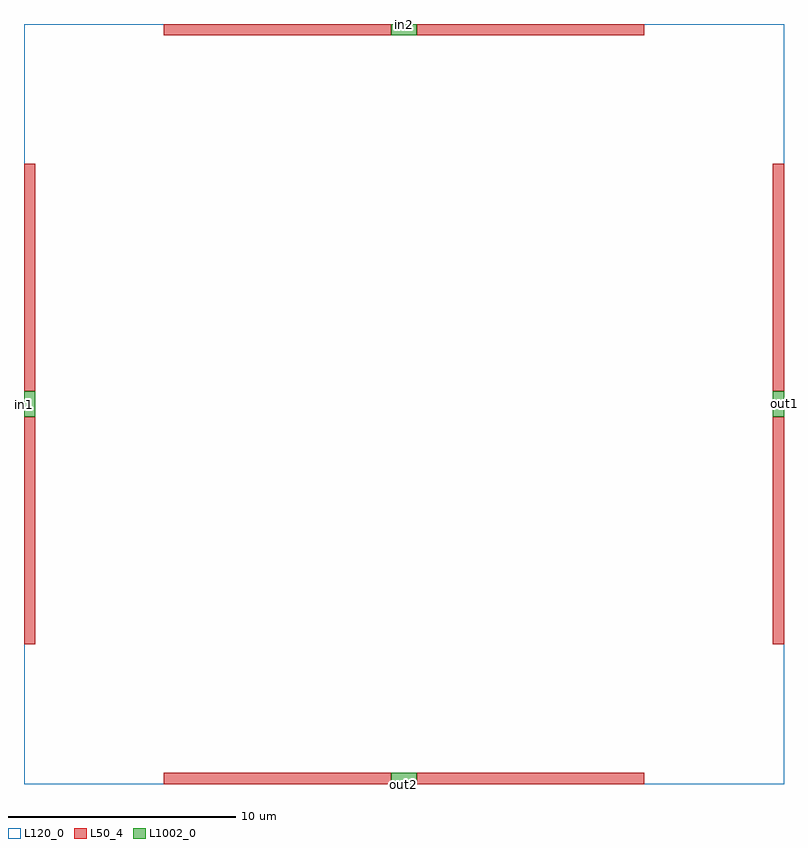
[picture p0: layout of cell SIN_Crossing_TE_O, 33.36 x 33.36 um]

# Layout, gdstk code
import gdstk
lib = gdstk.Library(unit=1e-6, precision=1e-09)
def R(c, l, rs):  # rectangles x0, y0, x1, y1
    for r in rs: c.add(gdstk.rectangle(r[:2], r[2:], *l))
L50_4 = (50, 4)
L120_0 = (120, 0)
L1002_0 = (1002, 0)

sin_crossing_te_o = lib.new_cell('SIN_Crossing_TE_O')
R(sin_crossing_te_o, L50_4, [(6.132,0,16.132,0.5), (17.232,0,27.232,0.5), (0,6.132,0.5,16.132), (32.864,6.132,33.364,16.132), (0,17.232,0.5,27.232), (32.864,17.232,33.364,27.232), (6.132,32.864,16.132,33.364), (17.232,32.864,27.232,33.364)])
R(sin_crossing_te_o, L120_0, [(0,0,33.364,33.364)])
R(sin_crossing_te_o, L1002_0, [(16.132,0,17.232,0.5), (0,16.132,0.5,17.232), (32.864,16.132,33.364,17.232), (16.132,32.864,17.232,33.364)])
sin_crossing_te_o.add(gdstk.Label('out2', (16.645,0), layer=1000, texttype=0))
sin_crossing_te_o.add(gdstk.Label('in2', (16.685,33.364), layer=1000, texttype=0))
sin_crossing_te_o.add(gdstk.Label('out1', (33.364,16.699), layer=1000, texttype=0))
sin_crossing_te_o.add(gdstk.Label('in1', (0,16.682), layer=1000, texttype=0))

lib.write_gds('SIN_Crossing_TE_O.gds')
